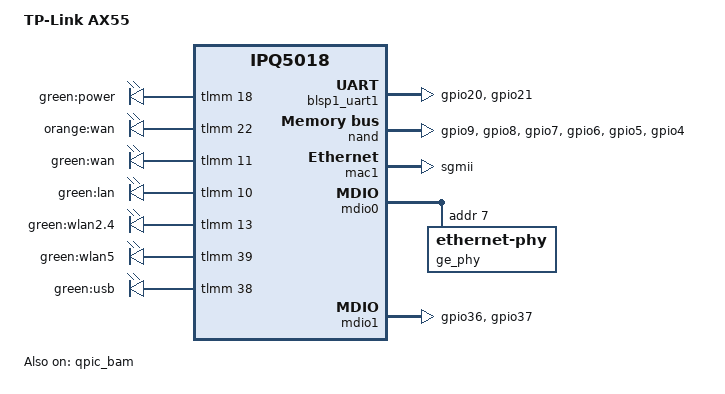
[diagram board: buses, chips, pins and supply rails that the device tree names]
// SPDX-License-Identifier: (GPL-2.0+)

/dts-v1/;

#include "ipq5018.dtsi"
#include <dt-bindings/gpio/gpio.h>
#include <dt-bindings/input/input.h>

/ {
	model = "TP-Link AX55";
	compatible = "tplink,ax55", "qcom,ipq5018";

	#address-cells = <0x2>;
	#size-cells = <0x2>;
	interrupt-parent = <&intc>;

	aliases {
		serial0 = &blsp1_uart1;

		ethernet1 = &mac1;
	};

	chosen {
		bootargs-append = " swiotlb=1 coherent_pool=2M";
		stdout-path = "serial0:115200n8";
	};

	thermal-zones {
		status = "ok";
	};

	rtl8367b {
		compatible = "realtek,rtl8367s";
		realtek,extif1 = <0 0 10 1 0 0 1 1 4>;
		mii-bus = <&mdio1>;
		cpu-port = <6>;
		phy_id = <29>;
	};
};

&tlmm {
	blsp_uart0_pins: blsp_uart0_pins {
		pins =
			"gpio20", // RX
			"gpio21"; // TX
		function = "blsp1_uart1";
		drive-strength = <8>;
		bias-disable;
	};

	qspi_nand_pins: qspi_nand_pins {
		clock {
			pins = "gpio9";
			function = "qspi_clk";
			drive-strength = <8>;
			bias-disable;
		};

		cs {
			pins = "gpio8";
			function = "qspi_cs";
			drive-strength = <8>;
			bias-disable;
		};

		data0 {
			pins = "gpio7";
			function = "qspi0";
			drive-strength = <8>;
			bias-disable;
		};

		data1 {
			pins = "gpio6";
			function = "qspi1";
			drive-strength = <8>;
			bias-disable;
		};

		data2 {
			pins = "gpio5";
			function = "qspi2";
			drive-strength = <8>;
			bias-disable;
		};

		data3 {
			pins = "gpio4";
			function = "qspi3";
			drive-strength = <8>;
			bias-disable;
		};
	};

	mdio1_pins: mdio1_pins {
		mdc {
			pins = "gpio36";
			function = "mdc";
			drive-strength = <8>;
			bias-pull-up;
		};

		mdio {
			pins = "gpio37";
			function = "mdio";
			drive-strength = <8>;
			bias-pull-up;
		};
	};
};

&blsp1_uart1 {
	pinctrl-0 = <&blsp_uart0_pins>;
	pinctrl-names = "default";
	status = "ok";
};

&qpic_bam {
	status = "ok";
};

&nand {
	pinctrl-0 = <&qspi_nand_pins>;
	pinctrl-names = "default";
	status = "ok";
};

&soc {
	ess-instance {
		num_devices = <0x1>;

		ess-switch@0x39c00000 {
			compatible = "qcom,ess-switch-ipq50xx";
			device_id = <0>;

			cmnblk_clk = "internal_96MHz";

			switch_mac_mode = <0xc>; // PORT_WRAPPER_SGMII_PLUS

			qcom,port_phyinfo {
				port@0 {
				 	port_id = <1>;
					phy_address = <7>;
				};
				
				port@1 {
					port_id = <2>;
					forced-speed = <2500>;
					forced-duplex = <1>;
				};
			};
		};
	};
	
	mac1: dp2 {
		compatible = "qcom,nss-dp";
		device_type = "network";
		qcom,id = <2>;

		reg = <0x39D00000 0x10000>;
		interrupts = <GIC_SPI 109 IRQ_TYPE_LEVEL_HIGH>;
		clocks = <&gcc GCC_SNOC_GMAC1_AXI_CLK>;
		clock-names = "nss-snoc-gmac-axi-clk";

		qcom,mactype = <2>; // GMAC_HAL_TYPE_SYN_GMAC
		local-mac-address = [000000000000];
		phy-mode = "sgmii";
	};

	leds {
		compatible = "gpio-leds";

		led_power {
			gpios = <&tlmm 18 GPIO_ACTIVE_HIGH>;
			label = "green:power";
			default-state = "on";
		};

		led_orange_wan {
			gpios = <&tlmm 22 GPIO_ACTIVE_HIGH>;
			label = "orange:wan";
		};

		led_green_wan {
			gpios = <&tlmm 11 GPIO_ACTIVE_HIGH>;
			label = "green:wan";
		};

		led_lan {
			gpios = <&tlmm 10 GPIO_ACTIVE_HIGH>;
			label = "green:lan";
		};

		led_wlan_2g {
			gpios = <&tlmm 13 GPIO_ACTIVE_HIGH>;
			label = "green:wlan2.4";
		};

		led_wlan_5g {
			gpios = <&tlmm 39 GPIO_ACTIVE_HIGH>;
			label = "green:wlan5";
		};

		led_usb {
			gpios = <&tlmm 38 GPIO_ACTIVE_HIGH>;
			label = "green:usb";
		};
	};
};

&mdio0 {
	status = "ok";	

	resets = <&gcc GCC_GEPHY_MDC_SW_ARES>;
	reset-names = "phy";

	// IPQ5018 GE Phy -> QCA8337 Phy4
	ge_phy: ethernet-phy@0 {
		reg = <7>;
	};
};

&mdio1 {
	pinctrl-0 = <&mdio1_pins>;
	pinctrl-names = "default";
	//reset-gpios = <&tlmm 21 0>;
	status = "ok";
};
